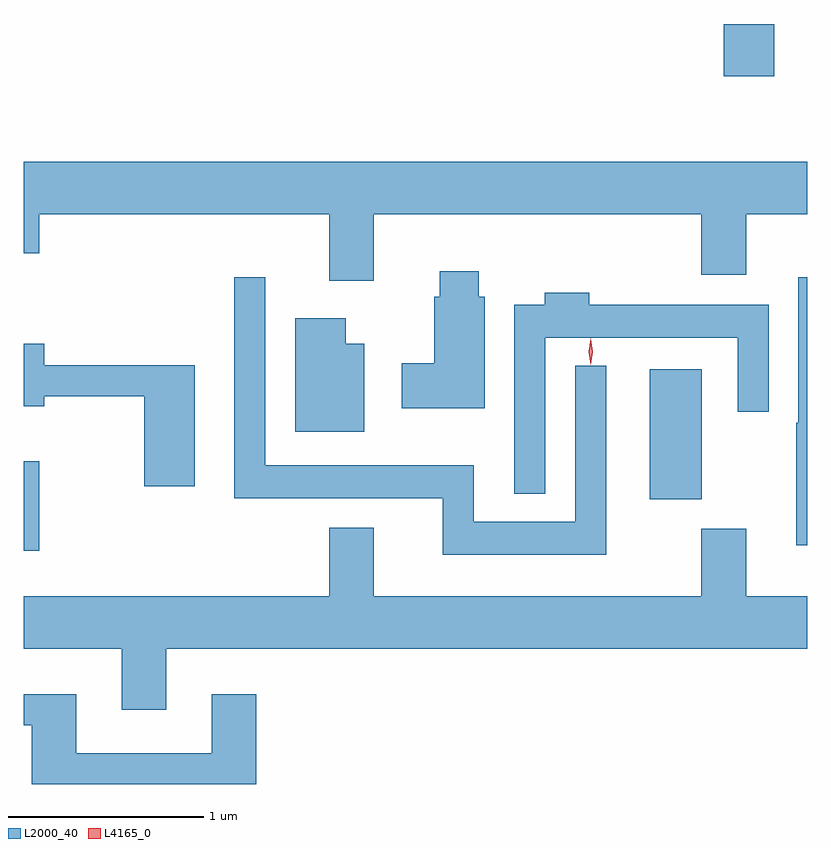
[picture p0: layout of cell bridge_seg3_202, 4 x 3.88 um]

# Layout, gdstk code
import gdstk
lib = gdstk.Library(unit=1e-6, precision=1e-09)
def R(c, l, rs):  # rectangles x0, y0, x1, y1
    for r in rs: c.add(gdstk.rectangle(r[:2], r[2:], *l))
def P(c, l, *ps):  # polygons
    for p in ps: c.add(gdstk.Polygon(p, *l))
L2000_40 = (2000, 40)
L4165_0 = (4165, 0)

bridge_seg3_202 = lib.new_cell('bridge_seg3_202')
R(bridge_seg3_202, L2000_40, [(1069.351,1177.576,1069.429,1178.034), (1072.546,1177.841,1072.814,1178.504), (1072.926,1180.001,1073.184,1180.267)])
P(bridge_seg3_202, L2000_40, [(1071.139,1179.296),(1072.811,1179.296),(1072.811,1178.986),(1073.039,1178.986),(1073.039,1179.296),(1073.351,1179.296),(1073.351,1179.564),(1069.351,1179.564),(1069.351,1179.096),(1069.429,1179.096),(1069.429,1179.296),(1070.911,1179.296),(1070.911,1178.956),(1071.139,1178.956)],
  [(1071.704,1178.874),(1071.674,1178.874),(1071.674,1179.004),(1071.476,1179.004),(1071.476,1178.874),(1071.446,1178.874),(1071.446,1178.534),(1071.281,1178.534),(1071.281,1178.306),(1071.704,1178.306)],
  [(1072.324,1178.523),(1072.166,1178.523),(1072.166,1177.724),(1071.649,1177.724),(1071.649,1178.014),(1070.584,1178.014),(1070.584,1178.973),(1070.426,1178.973),(1070.426,1177.846),(1071.491,1177.846),(1071.491,1177.556),(1072.324,1177.556)],
  [(1073.351,1178.973),(1073.306,1178.973),(1073.306,1178.23),(1073.296,1178.23),(1073.296,1177.606),(1073.351,1177.606)],
  [(1072.014,1178.666),(1072.996,1178.666),(1072.996,1178.288),(1073.154,1178.288),(1073.154,1178.834),(1072.239,1178.834),(1072.239,1178.894),(1072.011,1178.894),(1072.011,1178.834),(1071.856,1178.834),(1071.856,1177.868),(1072.014,1177.868)],
  [(1071.089,1178.634),(1070.994,1178.634),(1070.994,1178.764),(1070.736,1178.764),(1070.736,1178.186),(1071.089,1178.186)],
  [(1070.224,1178.524),(1069.454,1178.524),(1069.454,1178.634),(1069.351,1178.634),(1069.351,1178.316),(1069.454,1178.316),(1069.454,1178.366),(1069.966,1178.366),(1069.966,1177.906),(1070.224,1177.906)],
  [(1070.079,1177.076),(1073.351,1177.076),(1073.351,1177.344),(1073.039,1177.344),(1073.039,1177.689),(1072.811,1177.689),(1072.811,1177.344),(1071.139,1177.344),(1071.139,1177.694),(1070.911,1177.694),(1070.911,1177.344),(1069.351,1177.344),(1069.351,1177.076),(1069.851,1177.076),(1069.851,1176.766),(1070.079,1176.766)],
  [(1070.539,1176.844),(1070.311,1176.844),(1070.311,1176.544),(1069.619,1176.544),(1069.619,1176.844),(1069.351,1176.844),(1069.351,1176.686),(1069.391,1176.686),(1069.391,1176.386),(1070.539,1176.386)])
P(bridge_seg3_202, L4165_0, [(1072.245,1178.527),(1072.245,1178.527),(1072.235,1178.594),(1072.245,1178.66),(1072.245,1178.661),(1072.246,1178.66),(1072.255,1178.594),(1072.246,1178.527)])

lib.write_gds('bridge_seg3_202.gds')
